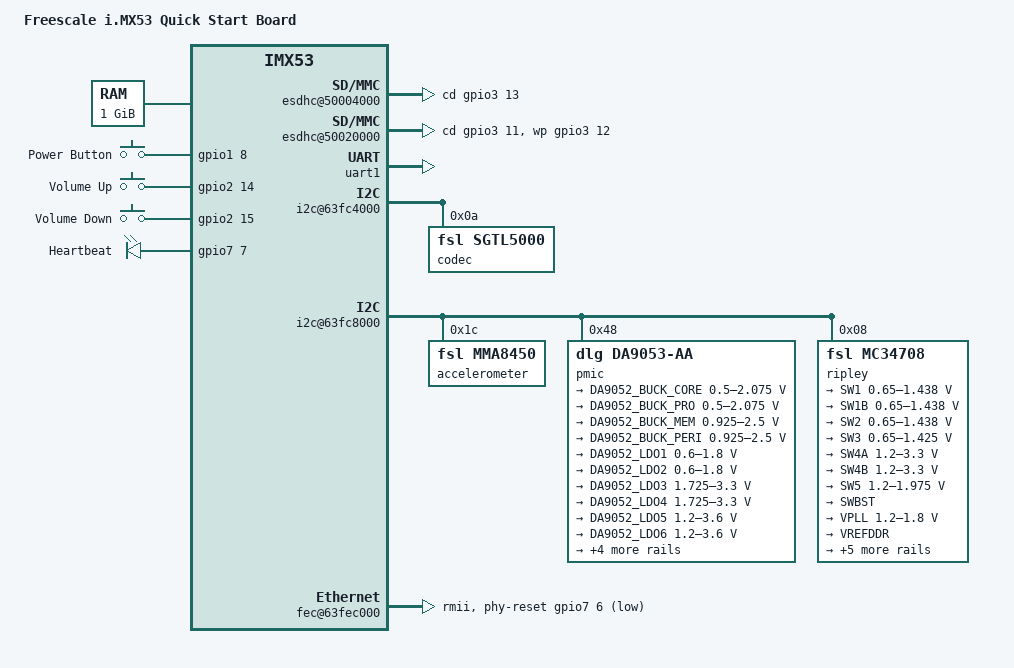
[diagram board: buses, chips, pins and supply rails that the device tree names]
/*
 * Copyright 2011 Freescale Semiconductor, Inc.
 * Copyright 2011 Linaro Ltd.
 *
 * The code contained herein is licensed under the GNU General Public
 * License. You may obtain a copy of the GNU General Public License
 * Version 2 or later at the following locations:
 *
 * http://www.opensource.org/licenses/gpl-license.html
 * http://www.gnu.org/copyleft/gpl.html
 */

/dts-v1/;
/include/ "imx53.dtsi"

/ {
	model = "Freescale i.MX53 Quick Start Board";
	compatible = "fsl,imx53-qsb", "fsl,imx53";

	chosen {
		bootargs = "console=ttymxc0,115200 root=/dev/mmcblk0p3 rootwait";
	};

	memory {
		reg = <0x70000000 0x40000000>;
	};

	soc {
		aips@50000000 { /* AIPS1 */
			spba@50000000 {
				esdhc@50004000 { /* ESDHC1 */
					cd-gpios = <&gpio3 13 0>;
					status = "okay";
				};

				esdhc@50020000 { /* ESDHC3 */
					cd-gpios = <&gpio3 11 0>;
					wp-gpios = <&gpio3 12 0>;
					status = "okay";
				};
			};

			wdog@53f98000 { /* WDOG1 */
				status = "okay";
			};

			iomuxc@53fa8000 {
				compatible = "fsl,imx53-iomuxc-qsb";
				reg = <0x53fa8000 0x4000>;
			};

			uart1: uart@53fbc000 {
				status = "okay";
			};
		};

		aips@60000000 {	/* AIPS2 */
			sdma@63fb0000 {
				fsl,sdma-ram-script-name = "imx/sdma/sdma-imx53.bin";
			};

			i2c@63fc4000 { /* I2C2 */
				status = "okay";

				codec: sgtl5000@0a {
					compatible = "fsl,sgtl5000";
					reg = <0x0a>;
				};
			};

			i2c@63fc8000 { /* I2C1 */
				status = "okay";

				accelerometer: mma8450@1c {
					compatible = "fsl,mma8450";
					reg = <0x1c>;
				};

				pmic: dialog@48 {
					compatible = "dlg,da9053-aa", "dlg,da9052";
					reg = <0x48>;

					regulators {
						buck0 {
							regulator-name = "DA9052_BUCK_CORE";
							regulator-min-microvolt = <500000>;
							regulator-max-microvolt = <2075000>;
						};

						buck1 {
							regulator-name = "DA9052_BUCK_PRO";
							regulator-min-microvolt = <500000>;
							regulator-max-microvolt = <2075000>;
						};

						buck2 {
							regulator-name = "DA9052_BUCK_MEM";
							regulator-min-microvolt = <925000>;
					                regulator-max-microvolt = <2500000>;
						};

						buck3 {
							regulator-name = "DA9052_BUCK_PERI";
							regulator-min-microvolt = <925000>;
					                regulator-max-microvolt = <2500000>;
						};

						ldo4 {
							regulator-name = "DA9052_LDO1";
							regulator-min-microvolt = <600000>;
							regulator-max-microvolt = <1800000>;
						};

						ldo5 {
							regulator-name = "DA9052_LDO2";
							regulator-min-microvolt = <600000>;
					                regulator-max-microvolt = <1800000>;
						};

						ldo6 {
							regulator-name = "DA9052_LDO3";
							regulator-min-microvolt = <1725000>;
					                regulator-max-microvolt = <3300000>;
						};

						ldo7 {
							regulator-name = "DA9052_LDO4";
							regulator-min-microvolt = <1725000>;
					                regulator-max-microvolt = <3300000>;
						};

						ldo8 {
							regulator-name = "DA9052_LDO5";
							regulator-min-microvolt = <1200000>;
					                regulator-max-microvolt = <3600000>;
						};

						ldo9 {
							regulator-name = "DA9052_LDO6";
							regulator-min-microvolt = <1200000>;
					                regulator-max-microvolt = <3600000>;
						};

						ldo10 {
							regulator-name = "DA9052_LDO7";
							regulator-min-microvolt = <1200000>;
					                regulator-max-microvolt = <3600000>;
						};

						ldo11 {
							regulator-name = "DA9052_LDO8";
							regulator-min-microvolt = <1200000>;
					                regulator-max-microvolt = <3600000>;
						};

						ldo12 {
							regulator-name = "DA9052_LDO9";
							regulator-min-microvolt = <1250000>;
					                regulator-max-microvolt = <3650000>;
						};

						ldo13 {
							regulator-name = "DA9052_LDO10";
							regulator-min-microvolt = <1200000>;
					                regulator-max-microvolt = <3600000>;
						};
					};
				};

				ripley@8 {
					compatible = "fsl,mc34708";
					reg = <0x08>;
					regulators {
						mc34708__sw1a {
							regulator-name = "SW1";
							regulator-min-microvolt = <650000>;
							regulator-max-microvolt = <1437500>;
							regulator-boot-on;
							regulator-always-on;
						};
						mc34708__sw1b {
							regulator-name = "SW1B";
							regulator-min-microvolt = <650000>;
							regulator-max-microvolt = <1437500>;
							regulator-boot-on;
							regulator-always-on;
						};
						mc34708__sw2 {
							regulator-name = "SW2";
							regulator-min-microvolt = <650000>;
							regulator-max-microvolt = <1437500>;
							regulator-boot-on;
							regulator-always-on;
						};
						mc34708__sw3 {
							regulator-name = "SW3";
							regulator-min-microvolt = <650000>;
							regulator-max-microvolt = <1425000>;
							regulator-boot-on;
						};
						mc34708__sw4a {
							regulator-name = "SW4A";
							regulator-min-microvolt = <1200000>;
							regulator-max-microvolt = <3300000>;
							regulator-boot-on;
							regulator-always-on;
						};
						mc34708__sw4b {
							regulator-name = "SW4B";
							regulator-min-microvolt = <1200000>;
							regulator-max-microvolt = <3300000>;
							regulator-boot-on;
							regulator-always-on;
						};
						mc34708__sw5 {
							regulator-name = "SW5";
							regulator-min-microvolt = <1200000>;
							regulator-max-microvolt = <1975000>;
							regulator-boot-on;
							regulator-always-on;
						};
						mc34708__swbst {
							regulator-name = "SWBST";
							regulator-boot-on;
							regulator-always-on;
						};
						mc34708__vpll {
							regulator-name = "VPLL";
							regulator-min-microvolt = <1200000>;
							regulator-max-microvolt = <1800000>;
							regulator-boot-on;
						};
						mc34708__vrefddr {
							regulator-name = "VREFDDR";
							regulator-boot-on;
							regulator-always-on;
						};
						mc34708__vusb {
							regulator-name = "VUSB";
							regulator-boot-on;
							regulator-always-on;
						};
						mc34708__vusb2 {
							regulator-name = "VUSB2";
							regulator-min-microvolt = <2500000>;
							regulator-max-microvolt = <3000000>;
							regulator-boot-on;
							regulator-always-on;
						};
						mc34708__vdac {
							regulator-name = "VDAC";
							regulator-min-microvolt = <2500000>;
							regulator-max-microvolt = <2775000>;
							regulator-boot-on;
							regulator-always-on;
						};
						mc34708__vgen1 {
							regulator-name = "VGEN1";
							regulator-min-microvolt = <1200000>;
							regulator-max-microvolt = <1550000>;
							regulator-boot-on;
							regulator-always-on;
						};
						mc34708__vgen2 {
							regulator-name = "VGEN2";
							regulator-min-microvolt = <2500000>;
							regulator-max-microvolt = <3300000>;
							regulator-boot-on;
							regulator-always-on;
						};
					};
				};
			};

			fec@63fec000 {
				phy-mode = "rmii";
				phy-reset-gpios = <&gpio7 6 0>;
				status = "okay";
			};
		};
	};

	gpio-keys {
		compatible = "gpio-keys";

		power {
			label = "Power Button";
			gpios = <&gpio1 8 0>;
			linux,code = <116>; /* KEY_POWER */
			gpio-key,wakeup;
		};

		volume-up {
			label = "Volume Up";
			gpios = <&gpio2 14 0>;
			linux,code = <115>; /* KEY_VOLUMEUP */
		};

		volume-down {
			label = "Volume Down";
			gpios = <&gpio2 15 0>;
			linux,code = <114>; /* KEY_VOLUMEDOWN */
		};
	};

	leds {
		compatible = "gpio-leds";

		user {
			label = "Heartbeat";
			gpios = <&gpio7 7 0>;
			linux,default-trigger = "heartbeat";
		};
	};
};
